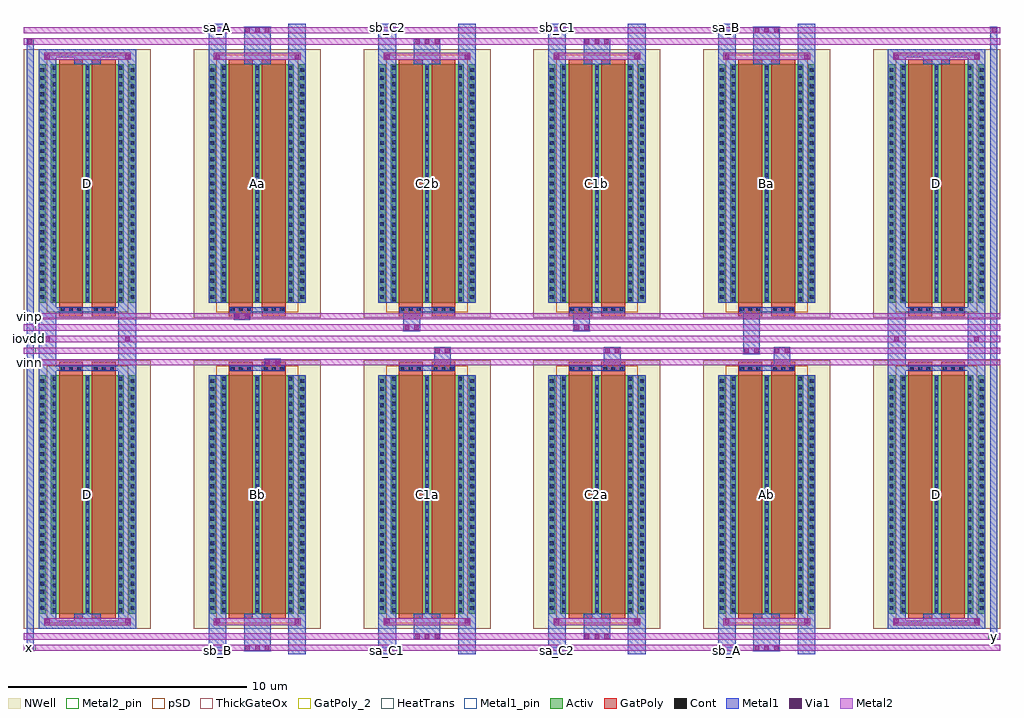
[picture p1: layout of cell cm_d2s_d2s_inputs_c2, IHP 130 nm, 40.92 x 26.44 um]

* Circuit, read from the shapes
.subckt cm_d2s_d2s_inputs_c2 iovdd sa_A sa_B sa_C1 sa_C2 sb_A sb_B sb_C1 sb_C2 vfb vinn vinp vref x y
XM1 iovdd iovdd iovdd iovdd sg13_hv_pmos w=10u l=1u m=8
XM2 x vinn sb_B sb_B sg13_hv_pmos w=10u l=1u m=2
XM3 y vinp sa_A sa_A sg13_hv_pmos w=10u l=1u m=2
XM4 y vref sa_C1 sa_C1 sg13_hv_pmos w=10u l=1u m=2
XM5 x vfb sb_C2 sb_C2 sg13_hv_pmos w=10u l=1u m=2
XM6 y vref sa_C2 sa_C2 sg13_hv_pmos w=10u l=1u m=2
XM7 x vfb sb_C1 sb_C1 sg13_hv_pmos w=10u l=1u m=2
XM8 x vref sb_A sb_A sg13_hv_pmos w=10u l=1u m=2
XM9 y vref sa_B sa_B sg13_hv_pmos w=10u l=1u m=2
.ends

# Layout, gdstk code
import gdstk
lib = gdstk.Library(unit=1e-6, precision=1e-09)
def R(c, l, rs):  # rectangles x0, y0, x1, y1
    for r in rs: c.add(gdstk.rectangle(r[:2], r[2:], *l))
def A(c, l, x, y, w, h, nx, ny, dx, dy):  # array of equal rectangles
    R(c, l, [(x+i*dx, y+j*dy, x+i*dx+w, y+j*dy+h) for i in range(nx) for j in range(ny)])
Activ = (1, 0)
GatPoly = (5, 0)
GatPoly_2 = (5, 2)
Cont = (6, 0)
Metal1 = (8, 0)
Metal1_pin = (8, 2)
Metal2 = (10, 0)
Metal2_pin = (10, 2)
pSD = (14, 0)
Via1 = (19, 0)
NWell = (31, 0)
ThickGateOx = (44, 0)
HeatTrans = (51, 0)

cm_d2s_pmoshv_w20_l1_ng2 = lib.new_cell('cm_d2s_pmosHV_w20_l1_ng2')
A(cm_d2s_pmoshv_w20_l1_ng2, Activ, 0, 0, 0.3, 0.3, 3, 1, 1.38, 0)
R(cm_d2s_pmoshv_w20_l1_ng2, Activ, [(0,0,3.06,10)])
R(cm_d2s_pmoshv_w20_l1_ng2, GatPoly, [(0.34,-0.18,1.34,10.18), (1.72,-0.18,2.72,10.18)])
R(cm_d2s_pmoshv_w20_l1_ng2, GatPoly_2, [(0.34,-0.18,1.34,10.18)])
A(cm_d2s_pmoshv_w20_l1_ng2, Cont, 0.07, 0.07, 0.16, 0.16, 3, 4, 1.38, 0.345)
A(cm_d2s_pmoshv_w20_l1_ng2, Cont, 0.07, 1.455, 0.16, 0.16, 3, 3, 1.38, 0.345)
A(cm_d2s_pmoshv_w20_l1_ng2, Cont, 0.07, 2.495, 0.16, 0.16, 3, 4, 1.38, 0.345)
A(cm_d2s_pmoshv_w20_l1_ng2, Cont, 0.07, 3.88, 0.16, 0.16, 3, 3, 1.38, 0.345)
A(cm_d2s_pmoshv_w20_l1_ng2, Cont, 0.07, 4.92, 0.16, 0.16, 3, 4, 1.38, 0.345)
A(cm_d2s_pmoshv_w20_l1_ng2, Cont, 0.07, 6.305, 0.16, 0.16, 3, 3, 1.38, 0.345)
A(cm_d2s_pmoshv_w20_l1_ng2, Cont, 0.07, 7.345, 0.16, 0.16, 3, 4, 1.38, 0.345)
A(cm_d2s_pmoshv_w20_l1_ng2, Cont, 0.07, 8.73, 0.16, 0.16, 3, 3, 1.38, 0.345)
A(cm_d2s_pmoshv_w20_l1_ng2, Cont, 0.07, 9.77, 0.16, 0.16, 3, 1, 1.38, 0)
A(cm_d2s_pmoshv_w20_l1_ng2, Metal1, 0.07, 0, 0.16, 10, 3, 1, 1.38, 0)
R(cm_d2s_pmoshv_w20_l1_ng2, Metal1_pin, [(0.07,0,0.23,10), (1.45,0,1.61,10)])
R(cm_d2s_pmoshv_w20_l1_ng2, pSD, [(-0.18,-0.4,3.24,10.4)])
R(cm_d2s_pmoshv_w20_l1_ng2, NWell, [(-0.62,-0.62,3.68,10.62)])
R(cm_d2s_pmoshv_w20_l1_ng2, ThickGateOx, [(-0.62,-0.62,3.68,10.62)])
R(cm_d2s_pmoshv_w20_l1_ng2, HeatTrans, [(0.34,-0.18,1.34,10.18), (1.72,-0.18,2.72,10.18)])
cm_d2s_pmoshv_w20_l1_ng2.add(gdstk.Label('pmosHV', (0.84,5), layer=63, texttype=0))
cm_d2s_pmoshv_w20_l1_ng2.add(gdstk.Label('pmos', (0.84,5), layer=51, texttype=0))
cm_d2s_pmoshv_w20_l1_ng2.add(gdstk.Label('pmos', (2.22,5), layer=51, texttype=0))

cm_d2s_tub_p20x1_c2 = lib.new_cell('cm_d2s_tub_p20x1_c2')
R(cm_d2s_tub_p20x1_c2, Activ, [(-0.51,0,-0.21,10), (3.27,0,3.57,10)])
R(cm_d2s_tub_p20x1_c2, GatPoly, [(0.34,10,1.34,10.56), (1.72,10,2.72,10.56)])
A(cm_d2s_tub_p20x1_c2, Cont, -0.44, 0.16, 0.16, 0.16, 1, 29, 0, 0.34)
A(cm_d2s_tub_p20x1_c2, Cont, 3.34, 0.16, 0.16, 0.16, 1, 29, 0, 0.34)
A(cm_d2s_tub_p20x1_c2, Cont, 0.42, 10.18, 0.16, 0.16, 3, 1, 0.34, 0)
A(cm_d2s_tub_p20x1_c2, Cont, 1.8, 10.18, 0.16, 0.16, 3, 1, 0.34, 0)
R(cm_d2s_tub_p20x1_c2, Metal1, [(-0.51,-0.62,0.23,10), (0.975,-0.62,2.085,0), (2.83,-0.62,3.57,10), (-0.51,0,-0.21,10), (3.27,0,3.57,10), (0.37,10.18,2.69,10.4)])
R(cm_d2s_tub_p20x1_c2, Metal2, [(-0.285,-0.475,3.345,-0.185)])
R(cm_d2s_tub_p20x1_c2, Via1, [(-0.235,-0.425,-0.045,-0.235), (3.105,-0.425,3.295,-0.235)])
R(cm_d2s_tub_p20x1_c2, NWell, [(-1.13,-0.62,4.19,10.62)])
R(cm_d2s_tub_p20x1_c2, ThickGateOx, [(-1.13,-0.62,4.19,10.62)])
cm_d2s_tub_p20x1_c2.add(gdstk.Reference(cm_d2s_pmoshv_w20_l1_ng2, (0,0)))
cm_d2s_tub_p20x1_c2.add(gdstk.Label('M', (1.53,5), layer=63, texttype=0))

cm_d2s_d2s_inputs_c2 = lib.new_cell('cm_d2s_d2s_inputs_c2')
A(cm_d2s_d2s_inputs_c2, Metal1, 17.19, 12.1, 0.7, 0.775, 3, 1, 7.12, 0)
R(cm_d2s_d2s_inputs_c2, Metal1, [(7.74,0,8.48,1.08), (11.08,0,11.82,1.08), (14.86,0,15.6,1.08), (18.2,0,18.94,1.08), (21.98,0,22.72,1.08), (25.32,0,26.06,1.08), (29.1,0,29.84,1.08), (32.44,0,33.18,1.08), (0.11,0.125,0.4,25.835), (9.225,0.125,10.335,1.08), (30.585,0.125,31.695,1.08), (16.345,0.605,17.455,1.08), (23.465,0.605,24.575,1.08), (40.52,0.605,40.81,26.315), (0.62,1.08,4.7,1.4), (36.22,1.08,40.3,1.4), (0.62,11.7,1.36,14.74), (3.96,11.7,4.7,14.74), (36.22,11.7,36.96,14.74), (39.56,11.7,40.3,14.74), (0.62,11.88,4.7,12.1), (36.22,11.88,40.3,12.1), (10.07,12.1,10.77,12.395), (30.15,12.585,30.85,14.34), (15.91,13.555,16.61,14.34), (23.03,13.555,23.73,14.34), (8.79,14.035,9.49,14.34), (0.62,14.34,4.7,14.56), (36.22,14.34,40.3,14.56), (0.62,25.04,4.7,25.36), (36.22,25.04,40.3,25.36), (7.74,25.36,8.48,26.44), (9.225,25.36,10.335,26.315), (11.08,25.36,11.82,26.44), (14.86,25.36,15.6,26.44), (16.345,25.36,17.455,25.835), (18.2,25.36,18.94,26.44), (21.98,25.36,22.72,26.44), (23.465,25.36,24.575,25.835), (25.32,25.36,26.06,26.44), (29.1,25.36,29.84,26.44), (30.585,25.36,31.695,26.315), (32.44,25.36,33.18,26.44)])
A(cm_d2s_d2s_inputs_c2, Metal1_pin, 7.74, 0, 0.74, 0.3, 4, 2, 7.12, 26.14)
A(cm_d2s_d2s_inputs_c2, Metal2, 0, 13.09, 40.92, 0.26, 1, 3, 0, 0.48)
R(cm_d2s_d2s_inputs_c2, Metal2, [(0,0.14,40.92,0.4), (0,0.62,40.92,0.88), (0,12.12,40.92,12.38), (0,12.6,40.92,12.86), (0,25.56,40.92,25.82), (0,26.04,40.92,26.3)])
A(cm_d2s_d2s_inputs_c2, Metal2_pin, 0, 13.09, 0.5, 0.26, 1, 3, 0, 0.48)
R(cm_d2s_d2s_inputs_c2, Metal2_pin, [(0,0.14,0.5,0.4), (40.42,0.62,40.92,0.88), (0,12.12,0.5,12.38), (0,12.6,0.5,12.86)])
A(cm_d2s_d2s_inputs_c2, Via1, 9.275, 0.175, 0.19, 0.19, 3, 2, 0.41, 25.9)
A(cm_d2s_d2s_inputs_c2, Via1, 30.635, 0.175, 0.19, 0.19, 3, 2, 0.41, 25.9)
A(cm_d2s_d2s_inputs_c2, Via1, 16.395, 0.655, 0.19, 0.19, 3, 2, 0.41, 24.94)
A(cm_d2s_d2s_inputs_c2, Via1, 23.515, 0.655, 0.19, 0.19, 3, 2, 0.41, 24.94)
R(cm_d2s_d2s_inputs_c2, Via1, [(0.16,0.175,0.35,0.365), (40.57,0.655,40.76,0.845), (10.12,12.155,10.31,12.345), (10.53,12.155,10.72,12.345), (17.24,12.635,17.43,12.825), (17.65,12.635,17.84,12.825), (24.36,12.635,24.55,12.825), (24.77,12.635,24.96,12.825), (30.2,12.635,30.39,12.825), (30.61,12.635,30.8,12.825), (31.48,12.635,31.67,12.825), (31.89,12.635,32.08,12.825), (0.895,13.125,1.085,13.315), (4.235,13.125,4.425,13.315), (36.495,13.125,36.685,13.315), (39.835,13.125,40.025,13.315), (15.96,13.605,16.15,13.795), (16.37,13.605,16.56,13.795), (23.08,13.605,23.27,13.795), (23.49,13.605,23.68,13.795), (8.84,14.085,9.03,14.275), (9.25,14.085,9.44,14.275), (0.16,25.595,0.35,25.785), (40.57,26.075,40.76,26.265)])
cm_d2s_d2s_inputs_c2.add(gdstk.Reference(cm_d2s_tub_p20x1_c2, (1.13,1.7)))
cm_d2s_d2s_inputs_c2.add(gdstk.Reference(cm_d2s_tub_p20x1_c2, (8.25,1.7)))
cm_d2s_d2s_inputs_c2.add(gdstk.Reference(cm_d2s_tub_p20x1_c2, (15.37,1.7)))
cm_d2s_d2s_inputs_c2.add(gdstk.Reference(cm_d2s_tub_p20x1_c2, (22.49,1.7)))
cm_d2s_d2s_inputs_c2.add(gdstk.Reference(cm_d2s_tub_p20x1_c2, (29.61,1.7)))
cm_d2s_d2s_inputs_c2.add(gdstk.Reference(cm_d2s_tub_p20x1_c2, (36.73,1.7)))
cm_d2s_d2s_inputs_c2.add(gdstk.Reference(cm_d2s_tub_p20x1_c2, (1.13,24.74), x_reflection=True))
cm_d2s_d2s_inputs_c2.add(gdstk.Reference(cm_d2s_tub_p20x1_c2, (8.25,24.74), x_reflection=True))
cm_d2s_d2s_inputs_c2.add(gdstk.Reference(cm_d2s_tub_p20x1_c2, (15.37,24.74), x_reflection=True))
cm_d2s_d2s_inputs_c2.add(gdstk.Reference(cm_d2s_tub_p20x1_c2, (22.49,24.74), x_reflection=True))
cm_d2s_d2s_inputs_c2.add(gdstk.Reference(cm_d2s_tub_p20x1_c2, (29.61,24.74), x_reflection=True))
cm_d2s_d2s_inputs_c2.add(gdstk.Reference(cm_d2s_tub_p20x1_c2, (36.73,24.74), x_reflection=True))
cm_d2s_d2s_inputs_c2.add(gdstk.Label('D', (2.66,6.7), layer=63, texttype=0))
cm_d2s_d2s_inputs_c2.add(gdstk.Label('Bb', (9.78,6.7), layer=63, texttype=0))
cm_d2s_d2s_inputs_c2.add(gdstk.Label('C1a', (16.9,6.7), layer=63, texttype=0))
cm_d2s_d2s_inputs_c2.add(gdstk.Label('C2a', (24.02,6.7), layer=63, texttype=0))
cm_d2s_d2s_inputs_c2.add(gdstk.Label('Ab', (31.14,6.7), layer=63, texttype=0))
cm_d2s_d2s_inputs_c2.add(gdstk.Label('D', (38.26,6.7), layer=63, texttype=0))
cm_d2s_d2s_inputs_c2.add(gdstk.Label('D', (2.66,19.74), layer=63, texttype=0))
cm_d2s_d2s_inputs_c2.add(gdstk.Label('Aa', (9.78,19.74), layer=63, texttype=0))
cm_d2s_d2s_inputs_c2.add(gdstk.Label('C2b', (16.9,19.74), layer=63, texttype=0))
cm_d2s_d2s_inputs_c2.add(gdstk.Label('C1b', (24.02,19.74), layer=63, texttype=0))
cm_d2s_d2s_inputs_c2.add(gdstk.Label('Ba', (31.14,19.74), layer=63, texttype=0))
cm_d2s_d2s_inputs_c2.add(gdstk.Label('D', (38.26,19.74), layer=63, texttype=0))
cm_d2s_d2s_inputs_c2.add(gdstk.Label('iovdd', (0.25,13.22), layer=10, texttype=25))
cm_d2s_d2s_inputs_c2.add(gdstk.Label('vinn', (0.25,12.25), layer=10, texttype=25))
cm_d2s_d2s_inputs_c2.add(gdstk.Label('vref', (0.25,12.73), layer=10, texttype=25))
cm_d2s_d2s_inputs_c2.add(gdstk.Label('vfb', (0.25,13.7), layer=10, texttype=25))
cm_d2s_d2s_inputs_c2.add(gdstk.Label('vinp', (0.25,14.18), layer=10, texttype=25))
cm_d2s_d2s_inputs_c2.add(gdstk.Label('x', (0.25,0.27), layer=10, texttype=25))
cm_d2s_d2s_inputs_c2.add(gdstk.Label('y', (40.67,0.75), layer=10, texttype=25))
cm_d2s_d2s_inputs_c2.add(gdstk.Label('sb_B', (8.11,0.15), layer=8, texttype=25))
cm_d2s_d2s_inputs_c2.add(gdstk.Label('sa_C1', (15.23,0.15), layer=8, texttype=25))
cm_d2s_d2s_inputs_c2.add(gdstk.Label('sa_C2', (22.35,0.15), layer=8, texttype=25))
cm_d2s_d2s_inputs_c2.add(gdstk.Label('sb_A', (29.47,0.15), layer=8, texttype=25))
cm_d2s_d2s_inputs_c2.add(gdstk.Label('sa_A', (8.11,26.29), layer=8, texttype=25))
cm_d2s_d2s_inputs_c2.add(gdstk.Label('sb_C2', (15.23,26.29), layer=8, texttype=25))
cm_d2s_d2s_inputs_c2.add(gdstk.Label('sb_C1', (22.35,26.29), layer=8, texttype=25))
cm_d2s_d2s_inputs_c2.add(gdstk.Label('sa_B', (29.47,26.29), layer=8, texttype=25))

lib.write_gds('cm_d2s_d2s_inputs_c2.gds')
